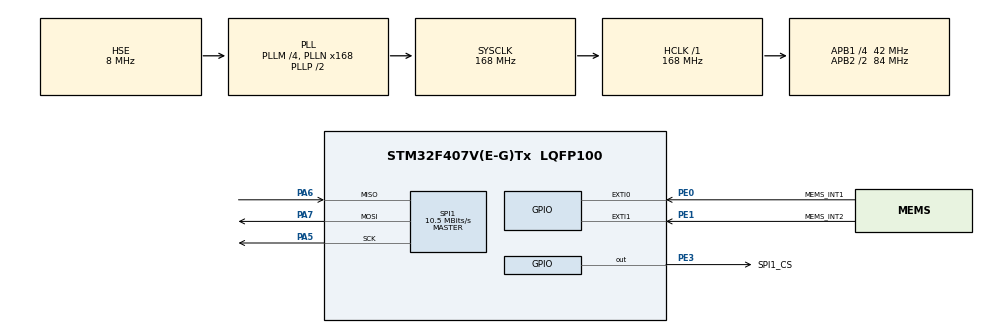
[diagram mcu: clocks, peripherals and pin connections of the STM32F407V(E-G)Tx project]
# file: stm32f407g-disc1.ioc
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Mcu.Family=STM32F4
Mcu.Name=STM32F407V(E-G)Tx
Mcu.Package=LQFP100
NVIC.EXTI0_IRQn=true\:0\:0\:false\:false\:true\:true\:true\:true
NVIC.EXTI1_IRQn=true\:0\:0\:false\:false\:true\:true\:true\:true
NVIC.PriorityGroup=NVIC_PRIORITYGROUP_4
PA13.Mode=Trace_Asynchronous_SW
PA13.Signal=SYS_JTMS-SWDIO
PA14.Mode=Trace_Asynchronous_SW
PA14.Signal=SYS_JTCK-SWCLK
PA5.Mode=Full_Duplex_Master
PA5.Signal=SPI1_SCK
PA6.Mode=Full_Duplex_Master
PA6.Signal=SPI1_MISO
PA7.Mode=Full_Duplex_Master
PA7.Signal=SPI1_MOSI
PB3.Mode=Trace_Asynchronous_SW
PB3.Signal=SYS_JTDO-SWO
PE0.GPIO_Label=MEMS_INT1
PE0.GPIO_ModeDefaultEXTI=GPIO_MODE_IT_FALLING
PE0.GPIO_PuPd=GPIO_PULLUP
PE0.Signal=GPXTI0
PE1.GPIO_Label=MEMS_INT2
PE1.GPIO_ModeDefaultEXTI=GPIO_MODE_IT_FALLING
PE1.GPIO_PuPd=GPIO_PULLUP
PE1.Signal=GPXTI1
PE3.GPIO_Label=SPI1_CS
PE3.Signal=GPIO_Output
PH0-OSC_IN.Mode=HSE-External-Oscillator
PH0-OSC_IN.Signal=RCC_OSC_IN
PH1-OSC_OUT.Mode=HSE-External-Oscillator
PH1-OSC_OUT.Signal=RCC_OSC_OUT
ProjectManager.HeapSize=0x200
ProjectManager.StackSize=0x400
ProjectManager.TargetToolchain=STM32CubeIDE
RCC.48MHZClocksFreq_Value=84000000
RCC.AHBFreq_Value=168000000
RCC.APB1CLKDivider=RCC_HCLK_DIV4
RCC.APB1Freq_Value=42000000
RCC.APB1TimFreq_Value=84000000
RCC.APB2CLKDivider=RCC_HCLK_DIV2
RCC.APB2Freq_Value=84000000
RCC.APB2TimFreq_Value=168000000
RCC.CortexFreq_Value=168000000
RCC.HCLKFreq_Value=168000000
RCC.HSE_VALUE=8000000
RCC.HSI_VALUE=16000000
RCC.LSE_VALUE=32768
RCC.PLLM=4
RCC.PLLN=168
RCC.PLLSourceVirtual=RCC_PLLSOURCE_HSE
RCC.SYSCLKFreq_VALUE=168000000
RCC.SYSCLKSource=RCC_SYSCLKSOURCE_PLLCLK
RCC.VCOOutputFreq_Value=336000000
SPI1.BaudRatePrescaler=SPI_BAUDRATEPRESCALER_8
SPI1.CalculateBaudRate=10.5 MBits/s
SPI1.Direction=SPI_DIRECTION_2LINES
SPI1.Mode=SPI_MODE_MASTER
SPI1.VirtualType=VM_MASTER
board=custom

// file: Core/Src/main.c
/* USER CODE BEGIN Header */
/**
 ******************************************************************************
 * @file           : main.c
 * @brief          : Main program body
 ******************************************************************************
 * @attention
 *
 * Copyright (c) 2025 Lars Boegild Thomsen <lbthomsen@gmail.com>
 * All rights reserved.
 *
 * This software is licensed under terms that can be found in the LICENSE file
 * in the root directory of this software component.
 * If no LICENSE file comes with this software, it is provided AS-IS.
 *
 ******************************************************************************
 */
/* USER CODE END Header */
#include "main.h"

/* USER CODE BEGIN Includes */
#include <stdio.h>

#include "lis3xx.h"
/* USER CODE END Includes */

SPI_HandleTypeDef hspi1;

/* USER CODE BEGIN PV */
lis3xx_handler_t lis3xx;
/* USER CODE END PV */

void SystemClock_Config(void);
static void MX_GPIO_Init(void);
static void MX_SPI1_Init(void);

/* USER CODE BEGIN 0 */

// Send stdout to USART1 and stderr to SWO
int _write(int fd, char *ptr, int len) {

    for (int i = 0; i < len; i++) {
        ITM_SendChar(ptr[i]); /* core_cm4.h */
    }
    return len;

}

/* USER CODE END 0 */

int main(void)
{

    /* MCU Configuration--------------------------------------------------------*/

    /* Reset of all peripherals, Initializes the Flash interface and the Systick. */
    HAL_Init();

    /* Configure the system clock */
    SystemClock_Config();

    /* Initialize all configured peripherals */
    MX_GPIO_Init();
    MX_SPI1_Init();
    /* USER CODE BEGIN 2 */

    printf("\n\n\nStarting\n");

    if (lis3xx_init(&lis3xx, &hspi1, SPI1_CS_GPIO_Port, SPI1_CS_Pin) != OK) {
        printf("Init error\n");
    }

    /* USER CODE END 2 */

    /* Infinite loop */
    /* USER CODE BEGIN WHILE */

    uint32_t now = 0, next_tick = 1000;

    while (1) {

        now = uwTick;

        if (now >= next_tick) {
            printf("Tick %lu\n", now / 1000);
            next_tick = now + 1000;
        }

        /* USER CODE END WHILE */

    }
}

void SystemClock_Config(void)
{
    RCC_OscInitTypeDef RCC_OscInitStruct = { 0 };
    RCC_ClkInitTypeDef RCC_ClkInitStruct = { 0 };

    /** Configure the main internal regulator output voltage
     */
    __HAL_RCC_PWR_CLK_ENABLE();
    __HAL_PWR_VOLTAGESCALING_CONFIG(PWR_REGULATOR_VOLTAGE_SCALE1);

    /** Initializes the RCC Oscillators according to the specified parameters
     * in the RCC_OscInitTypeDef structure.
     */
    RCC_OscInitStruct.OscillatorType = RCC_OSCILLATORTYPE_HSE;
    RCC_OscInitStruct.HSEState = RCC_HSE_ON;
    RCC_OscInitStruct.PLL.PLLState = RCC_PLL_ON;
    RCC_OscInitStruct.PLL.PLLSource = RCC_PLLSOURCE_HSE;
    RCC_OscInitStruct.PLL.PLLM = 4;
    RCC_OscInitStruct.PLL.PLLN = 168;
    RCC_OscInitStruct.PLL.PLLP = RCC_PLLP_DIV2;
    RCC_OscInitStruct.PLL.PLLQ = 4;
    if (HAL_RCC_OscConfig(&RCC_OscInitStruct) != HAL_OK)
            {
        Error_Handler();
    }

    /** Initializes the CPU, AHB and APB buses clocks
     */
    RCC_ClkInitStruct.ClockType = RCC_CLOCKTYPE_HCLK | RCC_CLOCKTYPE_SYSCLK
            | RCC_CLOCKTYPE_PCLK1 | RCC_CLOCKTYPE_PCLK2;
    RCC_ClkInitStruct.SYSCLKSource = RCC_SYSCLKSOURCE_PLLCLK;
    RCC_ClkInitStruct.AHBCLKDivider = RCC_SYSCLK_DIV1;
    RCC_ClkInitStruct.APB1CLKDivider = RCC_HCLK_DIV4;
    RCC_ClkInitStruct.APB2CLKDivider = RCC_HCLK_DIV2;

    if (HAL_RCC_ClockConfig(&RCC_ClkInitStruct, FLASH_LATENCY_5) != HAL_OK)
            {
        Error_Handler();
    }
}

static void MX_SPI1_Init(void)
{

    /* SPI1 parameter configuration*/
    hspi1.Instance = SPI1;
    hspi1.Init.Mode = SPI_MODE_MASTER;
    hspi1.Init.Direction = SPI_DIRECTION_2LINES;
    hspi1.Init.DataSize = SPI_DATASIZE_8BIT;
    hspi1.Init.CLKPolarity = SPI_POLARITY_LOW;
    hspi1.Init.CLKPhase = SPI_PHASE_1EDGE;
    hspi1.Init.NSS = SPI_NSS_SOFT;
    hspi1.Init.BaudRatePrescaler = SPI_BAUDRATEPRESCALER_8;
    hspi1.Init.FirstBit = SPI_FIRSTBIT_MSB;
    hspi1.Init.TIMode = SPI_TIMODE_DISABLE;
    hspi1.Init.CRCCalculation = SPI_CRCCALCULATION_DISABLE;
    hspi1.Init.CRCPolynomial = 10;
    if (HAL_SPI_Init(&hspi1) != HAL_OK)
            {
        Error_Handler();
    }

}

static void MX_GPIO_Init(void)
{
    GPIO_InitTypeDef GPIO_InitStruct = { 0 };

    /* GPIO Ports Clock Enable */
    __HAL_RCC_GPIOE_CLK_ENABLE();
    __HAL_RCC_GPIOH_CLK_ENABLE();
    __HAL_RCC_GPIOA_CLK_ENABLE();
    __HAL_RCC_GPIOB_CLK_ENABLE();

    /*Configure GPIO pin Output Level */
    HAL_GPIO_WritePin(SPI1_CS_GPIO_Port, SPI1_CS_Pin, GPIO_PIN_RESET);

    /*Configure GPIO pin : SPI1_CS_Pin */
    GPIO_InitStruct.Pin = SPI1_CS_Pin;
    GPIO_InitStruct.Mode = GPIO_MODE_OUTPUT_PP;
    GPIO_InitStruct.Pull = GPIO_NOPULL;
    GPIO_InitStruct.Speed = GPIO_SPEED_FREQ_LOW;
    HAL_GPIO_Init(SPI1_CS_GPIO_Port, &GPIO_InitStruct);

    /*Configure GPIO pins : MEMS_INT1_Pin MEMS_INT2_Pin */
    GPIO_InitStruct.Pin = MEMS_INT1_Pin | MEMS_INT2_Pin;
    GPIO_InitStruct.Mode = GPIO_MODE_IT_FALLING;
    GPIO_InitStruct.Pull = GPIO_PULLUP;
    HAL_GPIO_Init(GPIOE, &GPIO_InitStruct);

    /* EXTI interrupt init*/
    HAL_NVIC_SetPriority(EXTI0_IRQn, 0, 0);
    HAL_NVIC_EnableIRQ(EXTI0_IRQn);

    HAL_NVIC_SetPriority(EXTI1_IRQn, 0, 0);
    HAL_NVIC_EnableIRQ(EXTI1_IRQn);

}

void Error_Handler(void)
{
    __disable_irq();
    while (1)
    {
    }
}
